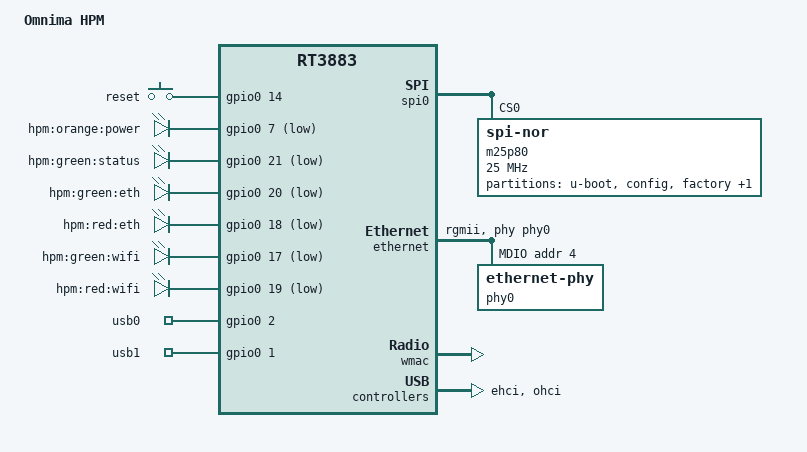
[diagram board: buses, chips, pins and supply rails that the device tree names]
/dts-v1/;

#include "rt3883.dtsi"

#include <dt-bindings/gpio/gpio.h>
#include <dt-bindings/input/input.h>

/ {
	compatible = "omnima,hpm", "ralink,rt3883-soc";
	model = "Omnima HPM";

	aliases {
		led-boot = &led_status;
		led-failsafe = &led_status;
		led-running = &led_status;
		led-upgrade = &led_status;
	};

	chosen {
		bootargs = "console=ttyS0,115200";
	};

	gpio-keys-polled {
		compatible = "gpio-keys-polled";
		poll-interval = <100>;

		reset {
			label = "reset";
			gpios = <&gpio0 14 GPIO_ACTIVE_HIGH>;
			linux,code = <KEY_RESTART>;
		};
	};

	gpio-leds {
		compatible = "gpio-leds";

		power {
			label = "hpm:orange:power";
			gpios = <&gpio0 7 GPIO_ACTIVE_LOW>;
			default-state = "on";
		};

		led_status: status {
			label = "hpm:green:status";
			gpios = <&gpio0 21 GPIO_ACTIVE_LOW>;
			default-state = "on";
		};

		eth {
			label = "hpm:green:eth";
			gpios = <&gpio0 20 GPIO_ACTIVE_LOW>;
		};

		eth2 {
			label = "hpm:red:eth";
			gpios = <&gpio0 18 GPIO_ACTIVE_LOW>;
		};

		wifi {
			label = "hpm:green:wifi";
			gpios = <&gpio0 17 GPIO_ACTIVE_LOW>;
		};

		wifi2 {
			label = "hpm:red:wifi";
			gpios = <&gpio0 19 GPIO_ACTIVE_LOW>;
		};
	};

	gpio_export {
		compatible = "gpio-export";
		#size-cells = <0>;
		/* gpio 12 and 13 handle the OC input */

		usb0 {
			gpio-export,name = "usb0";
			gpio-export,output = <1>;
			gpios = <&gpio0 2 GPIO_ACTIVE_HIGH>;
		};

		usb1 {
			gpio-export,name = "usb1";
			gpio-export,output = <1>;
			gpios = <&gpio0 1 GPIO_ACTIVE_HIGH>;
		};
	};
};

&spi0 {
	status = "okay";

	m25p80@0 {
		compatible = "jedec,spi-nor";
		spi-max-frequency = <25000000>;
		reg = <0>;

		partitions {
			compatible = "fixed-partitions";
			#address-cells = <1>;
			#size-cells = <1>;

			partition@0 {
				reg = <0x0 0x0030000>;
				label = "u-boot";
				read-only;
			};

			partition@30000 {
				reg = <0x00030000 0x00010000>;
				label = "config";
				read-only;
			};

			factory: partition@40000 {
				reg = <0x00040000 0x00010000>;
				label = "factory";
				read-only;
			};

			partition@50000 {
				compatible = "denx,uimage";
				reg = <0x00050000 0x00fb0000>;
				label = "firmware";
			};
		};
	};
};

&pinctrl {
	state_default: pinctrl0 {
		gpio {
			ralink,group = "i2c", "jtag", "uartf";
			ralink,function = "gpio";
		};
	};
};

&ethernet {
	phy-handle = <&phy0>;
	phy-mode = "rgmii";
	mtd-mac-address = <&factory 0x28>;

	mdio-bus {
		status = "okay";

		phy0: ethernet-phy@4 {
			reg = <4>;
		};
	};
};

&wmac {
	ralink,mtd-eeprom = <&factory 0>;
};

&ehci {
	status = "okay";
};

&ohci {
	status = "okay";
};
